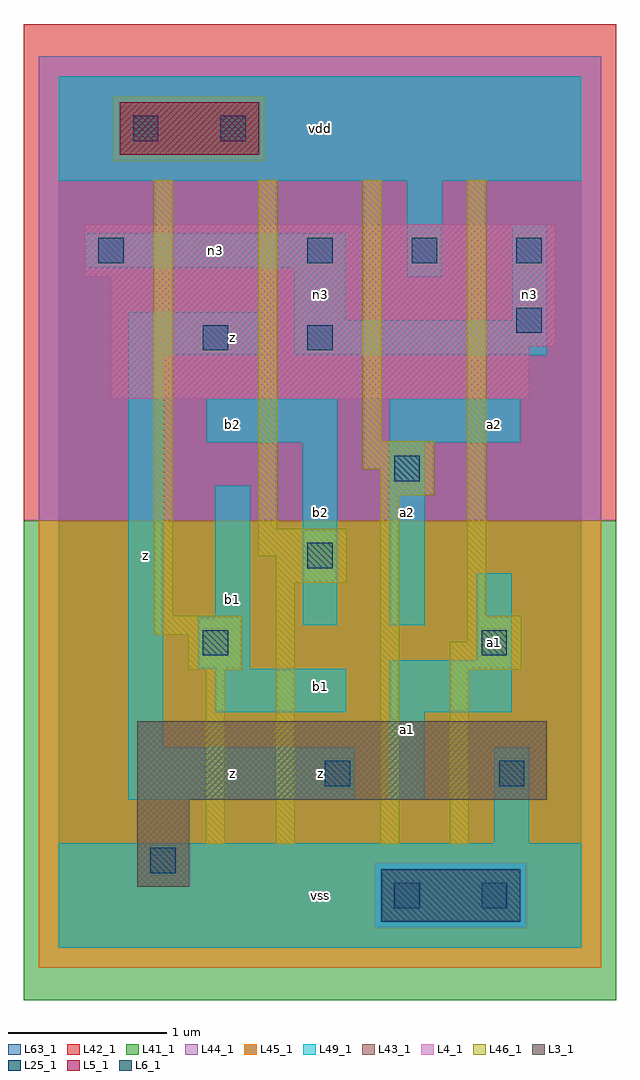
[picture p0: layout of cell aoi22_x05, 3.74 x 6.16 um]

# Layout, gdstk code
import gdstk
lib = gdstk.Library(unit=1e-6, precision=1e-09)
def R(c, l, rs):  # rectangles x0, y0, x1, y1
    for r in rs: c.add(gdstk.rectangle(r[:2], r[2:], *l))
def A(c, l, x, y, w, h, nx, ny, dx, dy):  # array of equal rectangles
    R(c, l, [(x+i*dx, y+j*dy, x+i*dx+w, y+j*dy+h) for i in range(nx) for j in range(ny)])
L3_1 = (3, 1)
L4_1 = (4, 1)
L5_1 = (5, 1)
L6_1 = (6, 1)
L25_1 = (25, 1)
L41_1 = (41, 1)
L42_1 = (42, 1)
L43_1 = (43, 1)
L44_1 = (44, 1)
L45_1 = (45, 1)
L46_1 = (46, 1)
L49_1 = (49, 1)
L63_1 = (63, 1)

aoi22_x05 = lib.new_cell('aoi22_x05')
R(aoi22_x05, L3_1, [(0.495,0.385,0.825,0.935), (0.495,0.935,3.08,1.43)])
R(aoi22_x05, L4_1, [(0.33,3.465,2.97,3.795), (0.33,3.795,3.135,4.235), (0.165,4.235,3.135,4.565)])
R(aoi22_x05, L5_1, [(0.385,5.005,1.265,5.335)])
R(aoi22_x05, L6_1, [(2.035,0.165,2.915,0.495)])
A(aoi22_x05, L25_1, 1.57, 4.32, 0.16, 0.16, 3, 1, 0.66, 0)
R(aoi22_x05, L25_1, [(2.12,0.25,2.28,0.41), (2.67,0.25,2.83,0.41), (0.58,0.47,0.74,0.63), (1.68,1.02,1.84,1.18), (2.78,1.02,2.94,1.18), (0.91,1.845,1.07,2.005), (2.67,1.845,2.83,2.005), (1.57,2.395,1.73,2.555), (2.12,2.945,2.28,3.105), (0.91,3.77,1.07,3.93), (1.57,3.77,1.73,3.93), (2.89,3.88,3.05,4.04), (0.25,4.32,0.41,4.48), (0.47,5.09,0.63,5.25), (1.02,5.09,1.18,5.25)])
R(aoi22_x05, L41_1, [(-0.22,-0.33,3.52,2.695)])
R(aoi22_x05, L42_1, [(-0.22,2.695,3.52,5.83)])
R(aoi22_x05, L43_1, [(2.035,0.165,2.915,0.495), (0.495,0.385,0.825,0.935), (0.495,0.935,3.08,1.43), (0.33,3.465,2.97,3.795), (0.33,3.795,3.135,4.235), (0.165,4.235,3.135,4.565), (0.385,5.005,1.265,5.335)])
R(aoi22_x05, L44_1, [(1.995,0.125,2.955,0.535), (-0.125,2.695,3.425,4.965), (-0.125,4.965,0.345,5.375), (1.305,4.965,3.425,5.375), (-0.125,5.375,3.425,5.625)])
R(aoi22_x05, L45_1, [(-0.125,-0.125,3.425,0.125), (-0.125,0.125,1.995,0.535), (2.955,0.125,3.425,0.535), (-0.125,0.535,3.425,2.695), (0.345,4.965,1.305,5.375)])
R(aoi22_x05, L46_1, [(0.93,0.655,1.05,1.755), (1.37,0.655,1.49,2.305), (2.03,0.655,2.15,2.855), (2.47,0.655,2.59,1.755), (0.82,1.755,1.16,1.975), (2.47,1.755,2.92,1.93), (2.58,1.93,2.92,2.095), (0.6,1.975,1.16,2.095), (0.6,2.095,0.72,4.845), (2.58,2.095,2.7,4.845), (1.37,2.305,1.82,2.47), (1.26,2.47,1.82,2.645), (1.26,2.645,1.38,4.845), (2.03,2.855,2.37,3.02), (1.92,3.02,2.37,3.195), (1.92,3.195,2.04,4.845)])
R(aoi22_x05, L49_1, [(0,0,3.3,0.66), (2.75,0.66,2.97,1.265), (0.44,0.935,1.87,1.265), (2.09,0.935,2.31,1.485), (0.44,1.265,0.66,3.74), (0.99,1.485,1.815,1.76), (2.09,1.485,2.86,1.815), (0.88,1.76,1.21,2.09), (2.64,1.815,2.86,2.365), (1.54,2.035,1.76,3.19), (2.09,2.035,2.31,3.19), (0.99,2.09,1.21,2.915), (0.935,3.19,1.76,3.465), (2.09,3.19,2.915,3.465), (0.44,3.74,1.265,4.015), (1.485,3.74,3.08,3.96), (1.485,3.96,1.815,4.29), (2.86,3.96,3.08,4.565), (2.2,4.235,2.42,4.84), (0.165,4.29,1.815,4.51), (0,4.84,3.3,5.5)])
R(aoi22_x05, L63_1, [(0,0,3.3,5.5)])
aoi22_x05.add(gdstk.Label('z', (1.1,1.1), layer=49, texttype=1))
aoi22_x05.add(gdstk.Label('z', (1.1,1.1), layer=49, texttype=1))
aoi22_x05.add(gdstk.Label('b1', (1.1,2.2), layer=49, texttype=1))
aoi22_x05.add(gdstk.Label('b1', (1.1,2.2), layer=49, texttype=1))
aoi22_x05.add(gdstk.Label('z', (0.55,2.475), layer=49, texttype=1))
aoi22_x05.add(gdstk.Label('z', (0.55,2.475), layer=49, texttype=1))
aoi22_x05.add(gdstk.Label('b2', (1.1,3.3), layer=49, texttype=1))
aoi22_x05.add(gdstk.Label('b2', (1.1,3.3), layer=49, texttype=1))
aoi22_x05.add(gdstk.Label('z', (1.1,3.85), layer=49, texttype=1))
aoi22_x05.add(gdstk.Label('z', (1.1,3.85), layer=49, texttype=1))
aoi22_x05.add(gdstk.Label('vss', (1.65,0.33), layer=49, texttype=1))
aoi22_x05.add(gdstk.Label('vss', (1.65,0.33), layer=49, texttype=1))
aoi22_x05.add(gdstk.Label('z', (1.65,1.1), layer=49, texttype=1))
aoi22_x05.add(gdstk.Label('z', (1.65,1.1), layer=49, texttype=1))
aoi22_x05.add(gdstk.Label('b1', (1.65,1.65), layer=49, texttype=1))
aoi22_x05.add(gdstk.Label('b1', (1.65,1.65), layer=49, texttype=1))
aoi22_x05.add(gdstk.Label('b2', (1.65,2.75), layer=49, texttype=1))
aoi22_x05.add(gdstk.Label('b2', (1.65,2.75), layer=49, texttype=1))
aoi22_x05.add(gdstk.Label('n3', (1.65,4.125), layer=49, texttype=1))
aoi22_x05.add(gdstk.Label('n3', (0.99,4.4), layer=49, texttype=1))
aoi22_x05.add(gdstk.Label('vdd', (1.65,5.17), layer=49, texttype=1))
aoi22_x05.add(gdstk.Label('vdd', (1.65,5.17), layer=49, texttype=1))
aoi22_x05.add(gdstk.Label('a1', (2.2,1.375), layer=49, texttype=1))
aoi22_x05.add(gdstk.Label('a1', (2.2,1.375), layer=49, texttype=1))
aoi22_x05.add(gdstk.Label('a2', (2.2,2.75), layer=49, texttype=1))
aoi22_x05.add(gdstk.Label('a2', (2.2,2.75), layer=49, texttype=1))
aoi22_x05.add(gdstk.Label('a1', (2.75,1.925), layer=49, texttype=1))
aoi22_x05.add(gdstk.Label('a1', (2.75,1.925), layer=49, texttype=1))
aoi22_x05.add(gdstk.Label('a2', (2.75,3.3), layer=49, texttype=1))
aoi22_x05.add(gdstk.Label('a2', (2.75,3.3), layer=49, texttype=1))
aoi22_x05.add(gdstk.Label('n3', (2.97,4.125), layer=49, texttype=1))

lib.write_gds('aoi22_x05.gds')
